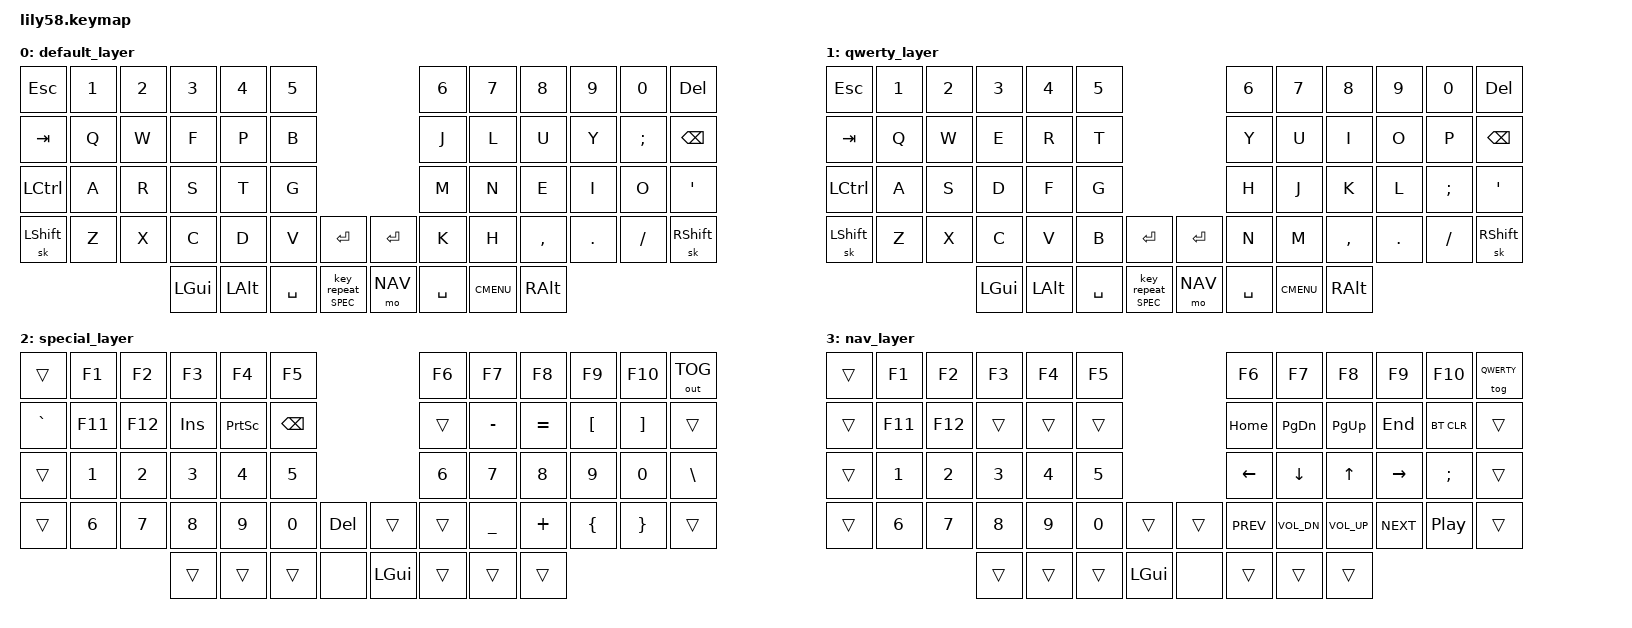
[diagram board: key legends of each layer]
#define NORM    0
#define QWERTY  1
#define SPEC    2
#define NAV     3

/*
 * Copyright (c) 2020 The ZMK Contributors
 *
 * SPDX-License-Identifier: MIT
 */

#include <behaviors.dtsi>
#include <dt-bindings/zmk/keys.h>
#include <dt-bindings/zmk/bt.h>
#include <dt-bindings/zmk/outputs.h>
// Disable power management - always on
// #include <dt-bindings/zmk/ext_power.h>

/*
 * TODO: would be cool to have following
 * 1. Automatic plover activation based on grouping
 * 2. Automatic plover disable (maybe manual exit/pause would be better)
 */

&sk {
    release-after-ms = <150>;
    quick-release;
    ignore-modifiers;
};

&mt {
    tapping-term-ms = <150>;
};

/ {
    behaviors {
        hltr: hold_layer_tap_repeat {
            compatible = "zmk,behavior-hold-tap";
            #binding-cells = <2>;
            flavor = "balanced";
            tapping-term-ms = <125>;
            retro-tap;
            bindings = <&mo>, <&key_repeat>;
        };
    };

	keymap {
    compatible = "zmk,keymap";

		default_layer {
			bindings = <
        &kp ESC    &kp N1  &kp N2 &kp N3    &kp N4    &kp N5                             &kp N6     &kp N7       &kp N8       &kp N9   &kp N0     &kp DEL
        &kp TAB    &kp Q   &kp W  &kp F     &kp P     &kp B                              &kp J      &kp L        &kp U        &kp Y    &kp SEMI   &kp BSPC
        &kp LCTRL  &kp A   &kp R  &kp S     &kp T     &kp G                              &kp M      &kp N        &kp E        &kp I    &kp O      &kp SQT
        &sk LSHFT  &kp Z   &kp X  &kp C     &kp D     &kp V      &kp RET        &kp RET  &kp K      &kp H        &kp COMMA    &kp DOT  &kp FSLH   &sk RSHFT
                                  &kp LGUI  &kp LALT  &kp SPACE  &hltr SPEC 0   &mo NAV  &kp SPACE  &kp K_CMENU  &kp RALT
			>;
		};

    qwerty_layer {
			bindings = <
        &kp ESC    &kp N1  &kp N2 &kp N3    &kp N4    &kp N5                             &kp N6     &kp N7       &kp N8       &kp N9   &kp N0     &kp DEL
        &kp TAB    &kp Q   &kp W  &kp E     &kp R     &kp T                              &kp Y      &kp U        &kp I        &kp O    &kp P      &kp BSPC
        &kp LCTRL  &kp A   &kp S  &kp D     &kp F     &kp G                              &kp H      &kp J        &kp K        &kp L    &kp SEMI   &kp SQT
        &sk LSHFT  &kp Z   &kp X  &kp C     &kp V     &kp B      &kp RET        &kp RET  &kp N      &kp M        &kp COMMA    &kp DOT  &kp FSLH   &sk RSHFT
                                  &kp LGUI  &kp LALT  &kp SPACE  &hltr SPEC 0   &mo NAV  &kp SPACE  &kp K_CMENU  &kp RALT
			>;
		};

		special_layer {
      bindings = <
        &trans     &kp F1   &kp F2   &kp F3   &kp F4     &kp F5                           &kp F6  &kp F7     &kp F8     &kp F9    &kp F10   &out OUT_TOG
        &kp GRAVE  &kp F11  &kp F12  &kp INS  &kp PSCRN  &kp BSPC                         &trans  &kp MINUS  &kp EQUAL  &kp LBKT  &kp RBKT  &trans
        &trans     &kp N1   &kp N2   &kp N3   &kp N4     &kp N5                           &kp N6  &kp N7     &kp N8     &kp N9    &kp N0    &kp BSLH
        &trans     &kp N6   &kp N7   &kp N8   &kp N9     &kp N0  &kp DEL        &trans    &trans  &kp UNDER  &kp PLUS   &kp LBRC  &kp RBRC  &trans
                                     &trans   &trans     &trans  &none          &kp LGUI  &trans  &trans     &trans
			>;
		};
      
		nav_layer {
			bindings = <
        &trans  &kp F1   &kp F2   &kp F3  &kp F4  &kp F5                                &kp F6      &kp F7        &kp F8        &kp F9      &kp F10    &tog QWERTY
        &trans  &kp F11  &kp F12  &trans  &trans  &trans                                &kp HOME    &kp PG_DN     &kp PG_UP     &kp END     &bt BT_CLR &trans
        &trans  &kp N1   &kp N2   &kp N3  &kp N4  &kp N5                                &kp LEFT    &kp DOWN      &kp UP        &kp RIGHT   &kp SEMI   &trans
        &trans  &kp N6   &kp N7   &kp N8  &kp N9  &kp N0  &trans                &trans  &kp C_PREV  &kp C_VOL_DN  &kp C_VOL_UP  &kp C_NEXT  &kp C_PP   &trans
                                  &trans  &trans  &trans  &kp LGUI              &none   &trans      &trans        &trans
      >;
		};
	};
};
